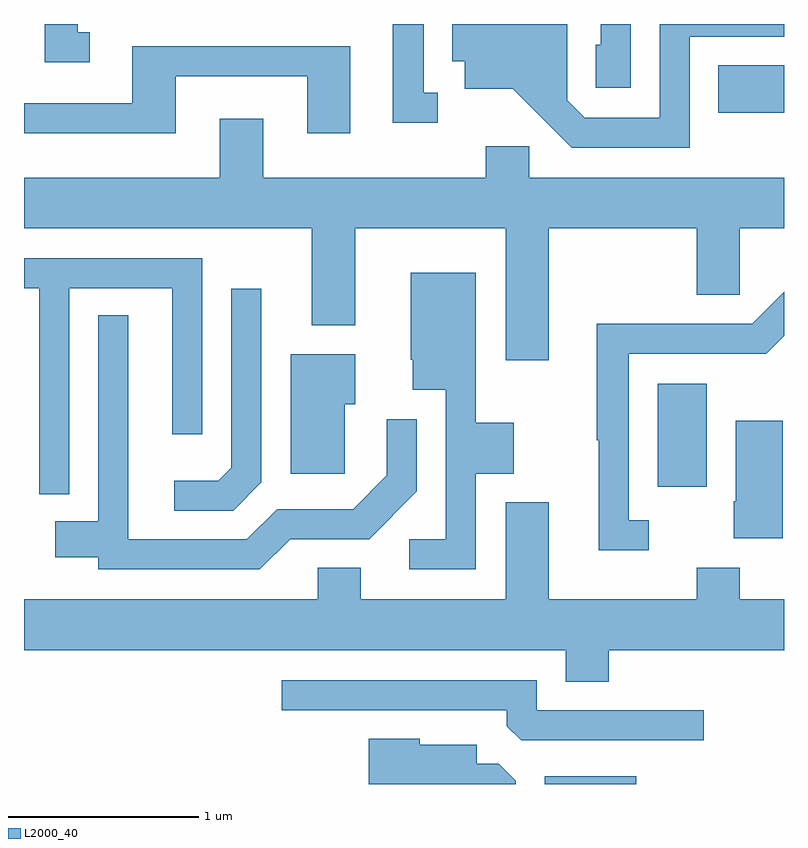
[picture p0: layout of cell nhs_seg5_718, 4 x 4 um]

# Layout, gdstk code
import gdstk
lib = gdstk.Library(unit=1e-6, precision=1e-09)
def R(c, l, rs):  # rectangles x0, y0, x1, y1
    for r in rs: c.add(gdstk.rectangle(r[:2], r[2:], *l))
def P(c, l, *ps):  # polygons
    for p in ps: c.add(gdstk.Polygon(p, *l))
L2000_40 = (2000, 40)

nhs_seg5_718 = lib.new_cell('nhs_seg5_718')
R(nhs_seg5_718, L2000_40, [(208.351,1476.072,208.834,1476.114), (208.946,1477.636,209.204,1478.179), (209.266,1479.606,209.611,1479.854)])
P(nhs_seg5_718, L2000_40, [(209.114,1480.006),(209.611,1480.006),(209.611,1480.072),(208.956,1480.072),(208.956,1479.579),(208.562,1479.579),(208.469,1479.672),(208.469,1480.072),(207.866,1480.072),(207.866,1479.876),(207.931,1479.876),(207.931,1479.731),(208.184,1479.731),(208.494,1479.421),(209.114,1479.421)],
  [(208.804,1480.072),(208.646,1480.072),(208.646,1479.964),(208.621,1479.964),(208.621,1479.736),(208.804,1479.736)],
  [(207.788,1479.709),(207.714,1479.709),(207.714,1480.072),(207.551,1480.072),(207.551,1479.551),(207.788,1479.551)],
  [(205.958,1480.029),(205.894,1480.029),(205.894,1480.072),(205.721,1480.072),(205.721,1479.871),(205.958,1479.871)],
  [(206.409,1479.796),(207.101,1479.796),(207.101,1479.496),(207.329,1479.496),(207.329,1479.954),(206.181,1479.954),(206.181,1479.654),(205.611,1479.654),(205.611,1479.496),(206.409,1479.496)],
  [(208.374,1478.996),(209.151,1478.996),(209.151,1478.646),(209.379,1478.646),(209.379,1478.996),(209.611,1478.996),(209.611,1479.264),(208.269,1479.264),(208.269,1479.429),(208.041,1479.429),(208.041,1479.264),(206.869,1479.264),(206.869,1479.574),(206.641,1479.574),(206.641,1479.264),(205.611,1479.264),(205.611,1478.996),(207.126,1478.996),(207.126,1478.486),(207.354,1478.486),(207.354,1478.996),(208.146,1478.996),(208.146,1478.301),(208.374,1478.301)],
  [(205.849,1478.681),(206.391,1478.681),(206.391,1477.913),(206.549,1477.913),(206.549,1478.839),(205.611,1478.839),(205.611,1478.681),(205.691,1478.681),(205.691,1477.598),(205.849,1477.598)],
  [(207.989,1477.706),(208.189,1477.706),(208.189,1477.974),(207.989,1477.974),(207.989,1478.764),(207.646,1478.764),(207.646,1478.305),(207.656,1478.305),(207.656,1478.146),(207.831,1478.146),(207.831,1477.359),(207.638,1477.359),(207.638,1477.201),(207.989,1477.201)],
  [(206.859,1477.659),(206.859,1478.678),(206.701,1478.678),(206.701,1477.737),(206.634,1477.669),(206.403,1477.669),(206.403,1477.511),(206.712,1477.511)],
  [(208.898,1477.459),(208.794,1477.459),(208.794,1478.336),(209.517,1478.336),(209.611,1478.43),(209.611,1478.662),(209.444,1478.494),(208.626,1478.494),(208.626,1477.88),(208.636,1477.88),(208.636,1477.301),(208.898,1477.301)],
  [(207.012,1477.361),(207.427,1477.361),(207.679,1477.614),(207.679,1477.993),(207.521,1477.993),(207.521,1477.697),(207.344,1477.519),(206.944,1477.519),(206.784,1477.359),(206.159,1477.359),(206.159,1478.538),(206.001,1478.538),(206.001,1477.454),(205.776,1477.454),(205.776,1477.266),(206.001,1477.266),(206.001,1477.201),(206.852,1477.201)],
  [(207.299,1478.071),(207.354,1478.071),(207.354,1478.334),(207.016,1478.334),(207.016,1477.706),(207.299,1477.706)],
  [(209.604,1477.984),(209.356,1477.984),(209.356,1477.56),(209.346,1477.56),(209.346,1477.366),(209.604,1477.366)],
  [(208.689,1476.776),(209.611,1476.776),(209.611,1477.044),(209.379,1477.044),(209.379,1477.209),(209.151,1477.209),(209.151,1477.044),(208.374,1477.044),(208.374,1477.554),(208.146,1477.554),(208.146,1477.044),(207.384,1477.044),(207.384,1477.209),(207.156,1477.209),(207.156,1477.044),(205.611,1477.044),(205.611,1476.776),(208.461,1476.776),(208.461,1476.611),(208.689,1476.611)],
  [(209.188,1476.459),(208.309,1476.459),(208.309,1476.619),(206.968,1476.619),(206.968,1476.461),(208.151,1476.461),(208.151,1476.377),(208.227,1476.301),(209.188,1476.301)],
  [(208.199,1476.089),(208.109,1476.179),(207.994,1476.179),(207.994,1476.279),(207.694,1476.279),(207.694,1476.309),(207.426,1476.309),(207.426,1476.072),(208.199,1476.072)])

lib.write_gds('nhs_seg5_718.gds')
